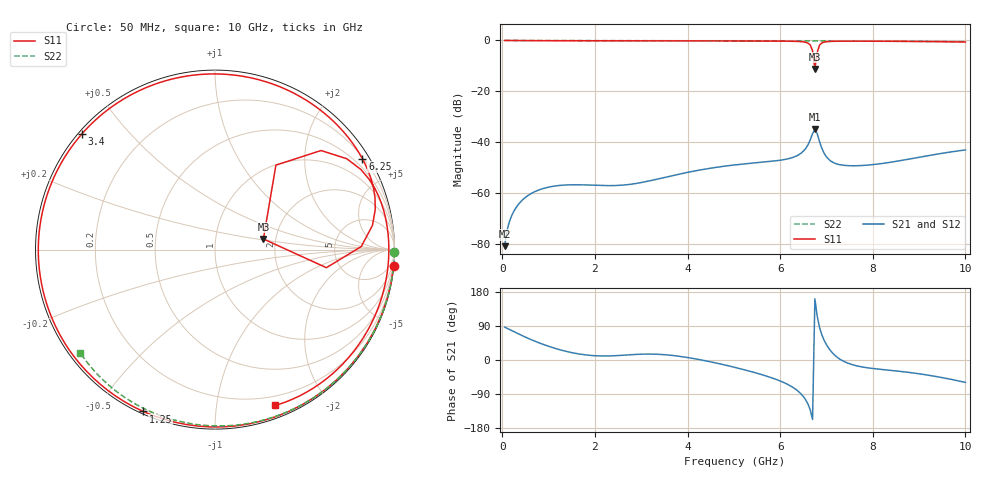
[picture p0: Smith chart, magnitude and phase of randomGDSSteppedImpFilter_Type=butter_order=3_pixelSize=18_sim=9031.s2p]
! freq	dB(S11)	phase(S11)	dB(S12)	phase(S12)
!  dB(S21)	phase(S21)	dB(S22)	phase(S22)
!S-par simulation data
#  GHz  S  DB  R 50
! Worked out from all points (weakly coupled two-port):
!   200 points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, 50 MHz to 10 GHz, reference 50 ohm
!   highest |S21| = -35.00 dB at 6.75 GHz (marker M1); lowest = -81.0 dB at 50 MHz (marker M2)
!   lowest |S11| = -11.2 dB at 6.75 GHz (marker M3), VSWR 1.76, Z = 86 + j11 ohm
!   |S11| at or under -10 dB: 6.741766 GHz to 6.759128 GHz (17.36 MHz wide, 0.257 % of centre)
!   |S22| runs from -0.5 to 0.0 dB; largest |S21 - S12| = 0
!   S11 on the Smith chart (normalised r, x): 50 MHz: 0, -21; 1.25 GHz: 0.01, -0.65; 3.4 GHz: 0.01, +0.37; 6.25 GHz: 0.24, +3.52; 10 GHz: 0.11, -1.46
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0.05  -0.00 -5.4  -81.00 86.7  -81.00 86.7  -0.00 -0.8
0.1  -0.01 -10.8  -75.02 83.8  -75.02 83.8  -0.00 -1.6
0.2  -0.03 -21.3  -69.10 77.7  -69.10 77.7  -0.00 -3.3
0.4  -0.05 -41.8  -63.45 66.0  -63.45 66.0  -0.01 -6.5
0.8  -0.09 -79.1  -58.79 45.0  -58.79 45.0  -0.02 -13.0
1.25  -0.12 -113.9  -57.07 26.8  -57.07 26.8  -0.03 -20.3
1.75  -0.12 -145.3  -56.86 14.2  -56.86 14.2  -0.04 -28.2
2.5  -0.14 176.9  -57.08 11.7  -57.08 11.7  -0.05 -40.0
3.4  -0.15 139.0  -54.37 14.8  -54.37 14.8  -0.07 -53.7
4.25  -0.17 106.5  -51.06 1.2  -51.06 1.2  -0.09 -66.2
5.05  -0.20 77.0  -48.95 -20.3  -48.95 -20.3  -0.12 -77.6
5.65  -0.22 55.1  -47.88 -40.4  -47.88 -40.4  -0.14 -85.9
6.25  -0.31 31.6  -46.21 -70.3  -46.21 -70.3  -0.17 -94.1
6.6  -1.04 8.7  -41.12 -116.0  -41.12 -116.0  -0.19 -98.7
6.7  -4.03 -9.2  -36.68 -156.8  -36.68 -156.8  -0.20 -100.1
6.75  -11.18 12.4  -35.00 161.6  -35.00 161.6  -0.20 -100.7
6.8  -4.73 54.2  -36.69 116.1  -36.69 116.1  -0.20 -101.4
6.85  -1.85 43.1  -39.83 86.0  -39.83 86.0  -0.21 -102.0
7  -0.50 24.6  -45.83 40.4  -45.83 40.4  -0.21 -104.0
7.25  -0.30 11.1  -48.77 5.6  -48.77 5.6  -0.23 -107.2
8.35  -0.32 -25.1  -48.06 -26.9  -48.06 -26.9  -0.31 -121.4
10  -0.62 -68.8  -43.12 -59.0  -43.12 -59.0  -0.49 -142.6
